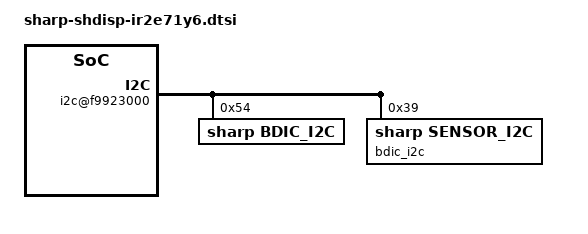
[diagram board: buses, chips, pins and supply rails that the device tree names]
/* Copyright (c) 2012, The Linux Foundation. All rights reserved.
 *
 * This program is free software; you can redistribute it and/or modify
 * it under the terms of the GNU General Public License version 2 and
 * only version 2 as published by the Free Software Foundation.
 *
 * This program is distributed in the hope that it will be useful,
 * but WITHOUT ANY WARRANTY; without even the implied warranty of
 * MERCHANTABILITY or FITNESS FOR A PARTICULAR PURPOSE.  See the
 * GNU General Public License for more details.
 */

&soc {
	/*---------------------*/
	/* backlight IC        */
	/*---------------------*/
	sharp,shdisp_ir2e71y6 {
		compatible = "sharp,shdisp_bdic";
		status = "disable";
		interrupts = <9 0>;
		interrupt-parent = <&msmgpio>;
	};

	i2c@f9923000 {
		bdic_i2c@54 {
			compatible = "sharp,bdic_i2c";
			status = "ok";
			reg = <0x54>;
		};

		bdic_i2c@39 {
			compatible = "sharp,sensor_i2c";
			status = "ok";
			reg = <0x39>;
		};
	};
};
